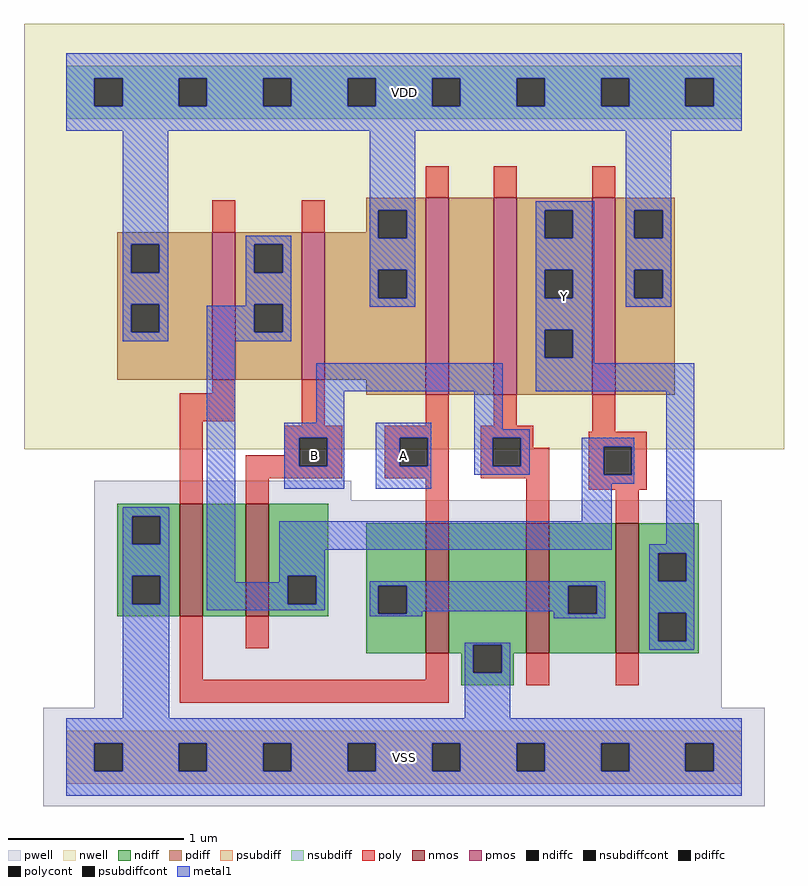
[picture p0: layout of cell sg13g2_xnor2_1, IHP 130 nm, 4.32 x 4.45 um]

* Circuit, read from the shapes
.subckt sg13g2_xnor2_1 Y B VDD A VSS
XM1 n1 A VSS VSS sg13_lv_nmos w=0.64u l=0.13u
XM2 n2 B n1 VSS sg13_lv_nmos w=0.64u l=0.13u
XM3 VSS A n3 VSS sg13_lv_nmos w=0.74u l=0.13u
XM4 n3 B VSS VSS sg13_lv_nmos w=0.74u l=0.13u
XM5 Y n2 n3 VSS sg13_lv_nmos w=0.74u l=0.13u
XM6 n2 A VDD VDD sg13_lv_pmos w=0.84u l=0.13u
XM7 VDD B n2 VDD sg13_lv_pmos w=0.84u l=0.13u
XM8 n4 A VDD VDD sg13_lv_pmos w=1.12u l=0.13u
XM9 Y B n4 VDD sg13_lv_pmos w=1.12u l=0.13u
XM10 VDD n2 Y VDD sg13_lv_pmos w=1.12u l=0.13u
.ends

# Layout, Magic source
magic
tech ihp-sg13g2
magscale 1 2
<< nwell >>
rect -48 350 816 834
<< pwell >>
rect 32 292 324 314
rect 32 56 745 292
rect -26 -56 794 56
<< nmos >>
rect 129 160 155 288
rect 204 160 230 288
rect 409 118 435 266
rect 523 118 549 266
rect 625 118 651 266
<< pmos >>
rect 166 429 192 597
rect 268 429 294 597
rect 409 412 435 636
rect 486 412 512 636
rect 598 412 624 636
<< ndiff >>
rect 58 274 129 288
rect 58 242 75 274
rect 107 242 129 274
rect 58 206 129 242
rect 58 174 75 206
rect 107 174 129 206
rect 58 160 129 174
rect 155 160 204 288
rect 230 206 298 288
rect 230 174 252 206
rect 284 174 298 206
rect 230 160 298 174
rect 341 195 409 266
rect 341 163 355 195
rect 387 163 409 195
rect 341 118 409 163
rect 435 128 523 266
rect 435 118 463 128
rect 449 96 463 118
rect 495 118 523 128
rect 549 195 625 266
rect 549 163 571 195
rect 603 163 625 195
rect 549 118 625 163
rect 651 232 719 266
rect 651 200 673 232
rect 705 200 719 232
rect 651 164 719 200
rect 651 132 673 164
rect 705 132 719 164
rect 651 118 719 132
rect 495 96 509 118
rect 449 82 509 96
<< pdiff >>
rect 341 622 409 636
rect 341 597 355 622
rect 58 583 166 597
rect 58 551 74 583
rect 106 551 166 583
rect 58 515 166 551
rect 58 483 74 515
rect 106 483 166 515
rect 58 429 166 483
rect 192 583 268 597
rect 192 551 214 583
rect 246 551 268 583
rect 192 515 268 551
rect 192 483 214 515
rect 246 483 268 515
rect 192 429 268 483
rect 294 590 355 597
rect 387 590 409 622
rect 294 554 409 590
rect 294 522 355 554
rect 387 522 409 554
rect 294 429 409 522
rect 341 412 409 429
rect 435 412 486 636
rect 512 622 598 636
rect 512 590 544 622
rect 576 590 598 622
rect 512 554 598 590
rect 512 522 544 554
rect 576 522 598 554
rect 512 486 598 522
rect 512 454 544 486
rect 576 454 598 486
rect 512 412 598 454
rect 624 622 692 636
rect 624 590 646 622
rect 678 590 692 622
rect 624 554 692 590
rect 624 522 646 554
rect 678 522 692 554
rect 624 412 692 522
<< ndiffc >>
rect 75 242 107 274
rect 75 174 107 206
rect 252 174 284 206
rect 355 163 387 195
rect 463 96 495 128
rect 571 163 603 195
rect 673 200 705 232
rect 673 132 705 164
<< pdiffc >>
rect 74 551 106 583
rect 74 483 106 515
rect 214 551 246 583
rect 214 483 246 515
rect 355 590 387 622
rect 355 522 387 554
rect 544 590 576 622
rect 544 522 576 554
rect 544 454 576 486
rect 646 590 678 622
rect 646 522 678 554
<< psubdiff >>
rect 0 16 768 30
rect 0 -16 32 16
rect 64 -16 128 16
rect 160 -16 224 16
rect 256 -16 320 16
rect 352 -16 416 16
rect 448 -16 512 16
rect 544 -16 608 16
rect 640 -16 704 16
rect 736 -16 768 16
rect 0 -30 768 -16
<< nsubdiff >>
rect 0 772 768 786
rect 0 740 32 772
rect 64 740 128 772
rect 160 740 224 772
rect 256 740 320 772
rect 352 740 416 772
rect 448 740 512 772
rect 544 740 608 772
rect 640 740 704 772
rect 736 740 768 772
rect 0 726 768 740
<< psubdiffcont >>
rect 32 -16 64 16
rect 128 -16 160 16
rect 224 -16 256 16
rect 320 -16 352 16
rect 416 -16 448 16
rect 512 -16 544 16
rect 608 -16 640 16
rect 704 -16 736 16
<< nsubdiffcont >>
rect 32 740 64 772
rect 128 740 160 772
rect 224 740 256 772
rect 320 740 352 772
rect 416 740 448 772
rect 512 740 544 772
rect 608 740 640 772
rect 704 740 736 772
<< poly >>
rect 409 636 435 672
rect 486 636 512 672
rect 598 636 624 672
rect 166 597 192 633
rect 268 597 294 633
rect 166 414 192 429
rect 129 382 192 414
rect 129 288 155 382
rect 268 377 294 429
rect 409 377 435 412
rect 486 377 512 412
rect 248 363 314 377
rect 248 343 265 363
rect 204 331 265 343
rect 297 331 314 363
rect 204 317 314 331
rect 362 363 435 377
rect 362 331 379 363
rect 411 331 435 363
rect 362 317 435 331
rect 471 363 531 377
rect 598 370 624 412
rect 471 331 485 363
rect 517 352 531 363
rect 594 353 660 370
rect 517 331 549 352
rect 471 317 549 331
rect 204 288 230 317
rect 409 266 435 317
rect 523 266 549 317
rect 594 321 611 353
rect 643 321 660 353
rect 594 304 660 321
rect 625 266 651 304
rect 129 88 155 160
rect 204 124 230 160
rect 409 88 435 118
rect 129 62 435 88
rect 523 82 549 118
rect 625 82 651 118
<< polycont >>
rect 265 331 297 363
rect 379 331 411 363
rect 485 331 517 363
rect 611 321 643 353
<< metal1 >>
rect 0 772 768 800
rect 0 740 32 772
rect 64 740 128 772
rect 160 740 224 772
rect 256 740 320 772
rect 352 740 416 772
rect 448 740 512 772
rect 544 740 608 772
rect 640 740 704 772
rect 736 740 768 772
rect 0 712 768 740
rect 64 583 116 712
rect 345 622 397 712
rect 64 551 74 583
rect 106 551 116 583
rect 64 515 116 551
rect 64 483 74 515
rect 106 483 116 515
rect 204 583 256 593
rect 204 551 214 583
rect 246 551 256 583
rect 204 515 256 551
rect 204 513 214 515
rect 64 473 116 483
rect 160 483 214 513
rect 246 483 256 515
rect 345 590 355 622
rect 387 590 397 622
rect 345 554 397 590
rect 345 522 355 554
rect 387 522 397 554
rect 345 512 397 522
rect 534 622 600 632
rect 534 590 544 622
rect 576 590 600 622
rect 534 554 600 590
rect 534 522 544 554
rect 576 522 600 554
rect 160 473 256 483
rect 534 486 600 522
rect 636 622 688 712
rect 636 590 646 622
rect 678 590 688 622
rect 636 554 688 590
rect 636 522 646 554
rect 678 522 688 554
rect 636 512 688 522
rect 64 274 117 284
rect 64 242 75 274
rect 107 242 117 274
rect 64 206 117 242
rect 64 174 75 206
rect 107 174 117 206
rect 64 44 117 174
rect 160 199 192 473
rect 534 454 544 486
rect 576 454 600 486
rect 534 448 600 454
rect 284 416 496 448
rect 534 416 714 448
rect 284 380 316 416
rect 248 363 316 380
rect 248 331 265 363
rect 297 331 316 363
rect 248 305 316 331
rect 352 363 415 380
rect 352 331 379 363
rect 411 331 415 363
rect 352 305 415 331
rect 464 373 496 416
rect 464 363 527 373
rect 464 331 485 363
rect 517 331 527 363
rect 464 321 527 331
rect 586 353 646 363
rect 586 321 611 353
rect 643 321 646 353
rect 586 311 646 321
rect 586 268 620 311
rect 242 236 620 268
rect 682 242 714 416
rect 242 206 294 236
rect 242 199 252 206
rect 160 174 252 199
rect 284 174 294 206
rect 663 232 714 242
rect 663 200 673 232
rect 705 200 714 232
rect 160 167 294 174
rect 345 195 613 200
rect 345 163 355 195
rect 387 166 571 195
rect 387 163 405 166
rect 345 160 405 163
rect 554 163 571 166
rect 603 163 613 195
rect 554 158 613 163
rect 663 164 714 200
rect 663 132 673 164
rect 705 132 714 164
rect 453 128 505 130
rect 453 96 463 128
rect 495 96 505 128
rect 663 122 714 132
rect 453 44 505 96
rect 0 16 768 44
rect 0 -16 32 16
rect 64 -16 128 16
rect 160 -16 224 16
rect 256 -16 320 16
rect 352 -16 416 16
rect 448 -16 512 16
rect 544 -16 608 16
rect 640 -16 704 16
rect 736 -16 768 16
rect 0 -44 768 -16
<< labels >>
flabel metal1 s 534 416 600 632 0 FreeSans 400 0 0 0 Y
port 2 nsew
flabel metal1 s 248 305 316 380 0 FreeSans 400 0 0 0 B
port 3 nsew
flabel metal1 s 0 712 768 800 0 FreeSans 400 0 0 0 VDD
port 4 nsew
flabel metal1 s 352 305 415 380 0 FreeSans 400 0 0 0 A
port 5 nsew
flabel metal1 s 0 -44 768 44 0 FreeSans 400 0 0 0 VSS
port 6 nsew
<< properties >>
string FIXED_BBOX 0 0 768 756
string GDS_END 155316
string GDS_FILE 6_final.gds
string GDS_START 149086
<< end >>
